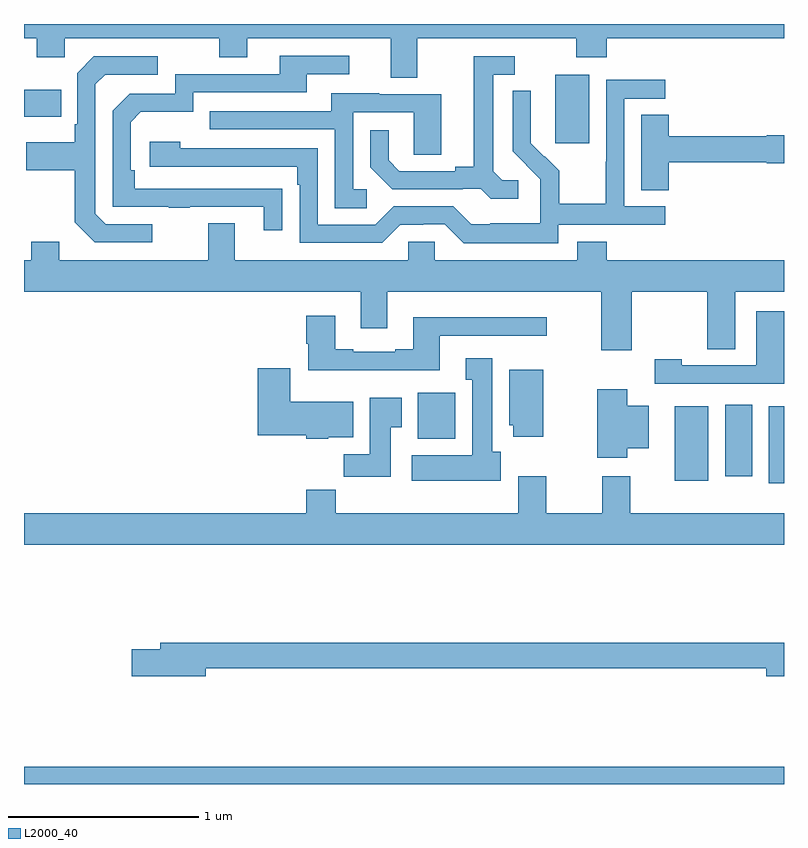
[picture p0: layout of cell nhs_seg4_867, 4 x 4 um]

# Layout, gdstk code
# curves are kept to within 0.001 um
import gdstk
lib = gdstk.Library(unit=1e-6, precision=1e-09)
def R(c, l, rs):  # rectangles x0, y0, x1, y1
    for r in rs: c.add(gdstk.rectangle(r[:2], r[2:], *l))
def P(c, l, *ps):  # polygons
    for p in ps: c.add(gdstk.Polygon(p, *l))
L2000_40 = (2000, 40)

nhs_seg4_867 = lib.new_cell('nhs_seg4_867')
R(nhs_seg4_867, L2000_40, [(155,788.9,159,788.992), (158.921,790.484,159,790.888), (158.426,790.496,158.602,790.888), (158.69,790.521,158.833,790.897), (157.073,790.718,157.27,790.96), (157.796,792.273,157.975,792.634), (155,792.413,155.195,792.553)])
P(nhs_seg4_867, L2000_40, [(157.069,792.824),(157.906,792.824),(157.906,792.725),(158.066,792.725),(158.066,792.824),(159,792.824),(159,792.9),(155,792.9),(155,792.824),(155.068,792.824),(155.068,792.725),(155.214,792.725),(155.214,792.824),(156.028,792.824),(156.028,792.725),(156.175,792.725),(156.175,792.824),(156.929,792.824),(156.929,792.616),(157.069,792.616)],
  [(156.359,792.032),(155.582,792.033),(155.582,792.13),(155.562,792.13),(155.562,792.384),(155.615,792.437),(155.892,792.437),(155.892,792.54),(156.487,792.54),(156.487,792.636),(156.712,792.636),(156.712,792.732),(156.347,792.732),(156.347,792.636),(155.796,792.636),(155.796,792.534),(155.556,792.534),(155.466,792.444),(155.466,791.937),(155.761,791.937),(155.761,791.932),(155.873,791.932),(155.873,791.937),(156.263,791.937),(156.263,791.814),(156.359,791.814)],
  [(155.674,791.847),(155.43,791.847),(155.376,791.901),(155.376,792.582),(155.427,792.633),(155.704,792.633),(155.704,792.729),(155.367,792.729),(155.28,792.642),(155.28,792.373),(155.268,792.373),(155.268,792.277),(155.011,792.277),(155.011,792.13),(155.268,792.13),(155.268,791.857),(155.373,791.751),(155.674,791.751)],
  [(157.6,792.078),(157.518,792.078),(157.471,792.125),(157.471,792.633),(157.582,792.633),(157.582,792.729),(157.367,792.729),(157.367,792.149),(157.271,792.149),(157.271,792.126),(156.976,792.126),(156.919,792.183),(156.919,792.34),(156.822,792.34),(156.822,792.146),(156.938,792.03),(157.31,792.03),(157.31,792.033),(157.404,792.033),(157.456,791.981),(157.6,791.981)],
  [(157.812,791.844),(158.374,791.844),(158.374,791.94),(158.16,791.94),(158.16,792.507),(158.374,792.507),(158.374,792.606),(158.064,792.606),(158.064,792.176),(158.062,792.176),(158.062,791.953),(157.817,791.953),(157.817,792.127),(157.74,792.204),(157.737,792.201),(157.667,792.272),(157.668,792.548),(157.572,792.548),(157.572,792.23),(157.718,792.082),(157.718,791.985),(157.716,791.985),(157.716,791.851),(157.453,791.851),(157.453,791.847),(157.353,791.847),(157.26,791.94),(156.945,791.94),(156.849,791.844),(156.546,791.844),(156.546,792.246),(155.822,792.246),(155.822,792.28),(155.661,792.28),(155.661,792.15),(156.437,792.15),(156.437,792.053),(156.45,792.053),(156.45,791.748),(156.885,791.748),(156.981,791.844),(157.1,791.844),(157.1,791.847),(157.215,791.847),(157.315,791.747),(157.812,791.747)],
  [(156.805,792.03),(156.732,792.03),(156.732,792.435),(157.05,792.435),(157.05,792.211),(157.195,792.211),(157.195,792.531),(156.871,792.531),(156.871,792.535),(156.617,792.535),(156.617,792.441),(155.977,792.441),(155.977,792.345),(156.636,792.345),(156.636,791.929),(156.805,791.929)],
  [(158.393,792.172),(158.91,792.172),(158.91,792.167),(159,792.167),(159,792.314),(158.91,792.314),(158.91,792.308),(158.393,792.308),(158.393,792.422),(158.249,792.422),(158.249,792.025),(158.393,792.025)],
  [(158.199,791.492),(158.596,791.492),(158.596,791.188),(158.743,791.188),(158.743,791.492),(159,791.492),(159,791.656),(158.066,791.656),(158.066,791.755),(157.913,791.755),(157.913,791.656),(157.161,791.656),(157.161,791.754),(157.023,791.754),(157.023,791.656),(156.109,791.656),(156.109,791.851),(155.969,791.851),(155.969,791.656),(155.185,791.656),(155.185,791.755),(155.038,791.755),(155.038,791.656),(155,791.656),(155,791.492),(156.773,791.492),(156.773,791.298),(156.913,791.298),(156.913,791.492),(158.039,791.492),(158.039,791.184),(158.199,791.184)],
  [(159,791.389),(158.855,791.389),(158.855,791.103),(158.463,791.103),(158.463,791.136),(158.319,791.136),(158.319,791.007),(159,791.007)],
  [(157.189,791.259),(157.75,791.259),(157.75,791.356),(157.049,791.356),(157.049,791.188),(156.953,791.188),(156.953,791.175),(156.733,791.175),(156.733,791.188),(156.637,791.188),(156.637,791.365),(156.485,791.365),(156.485,791.217),(156.497,791.217),(156.497,791.078),(157.189,791.078)],
  [(157.51,790.65),(157.465,790.65),(157.465,791.14),(157.325,791.14),(157.325,791.027),(157.358,791.027),(157.358,790.63),(157.041,790.63),(157.041,790.496),(157.51,790.496)],
  [(156.6,790.724),(156.733,790.724),(156.733,790.912),(156.4,790.912),(156.4,791.089),(156.23,791.089),(156.23,790.736),(156.486,790.736),(156.486,790.718),(156.6,790.718)],
  [(157.732,791.08),(157.553,791.08),(157.553,790.788),(157.574,790.788),(157.574,790.728),(157.732,790.728)],
  [(158.176,790.667),(158.287,790.667),(158.287,790.891),(158.176,790.891),(158.176,790.978),(158.018,790.978),(158.018,790.617),(158.176,790.617)],
  [(156.931,790.777),(156.988,790.777),(156.988,790.933),(156.821,790.933),(156.821,790.636),(156.682,790.636),(156.682,790.518),(156.931,790.518)],
  [(159,790.324),(158.191,790.324),(158.191,790.519),(158.044,790.519),(158.044,790.324),(157.749,790.324),(157.749,790.519),(157.601,790.519),(157.601,790.324),(156.641,790.324),(156.641,790.448),(156.485,790.448),(156.485,790.324),(155,790.324),(155,790.16),(159,790.16)],
  [(155.956,789.508),(158.906,789.508),(158.906,789.466),(159,789.466),(159,789.644),(155.717,789.644),(155.717,789.608),(155.568,789.608),(155.568,789.466),(155.956,789.466)])

lib.write_gds('nhs_seg4_867.gds')
